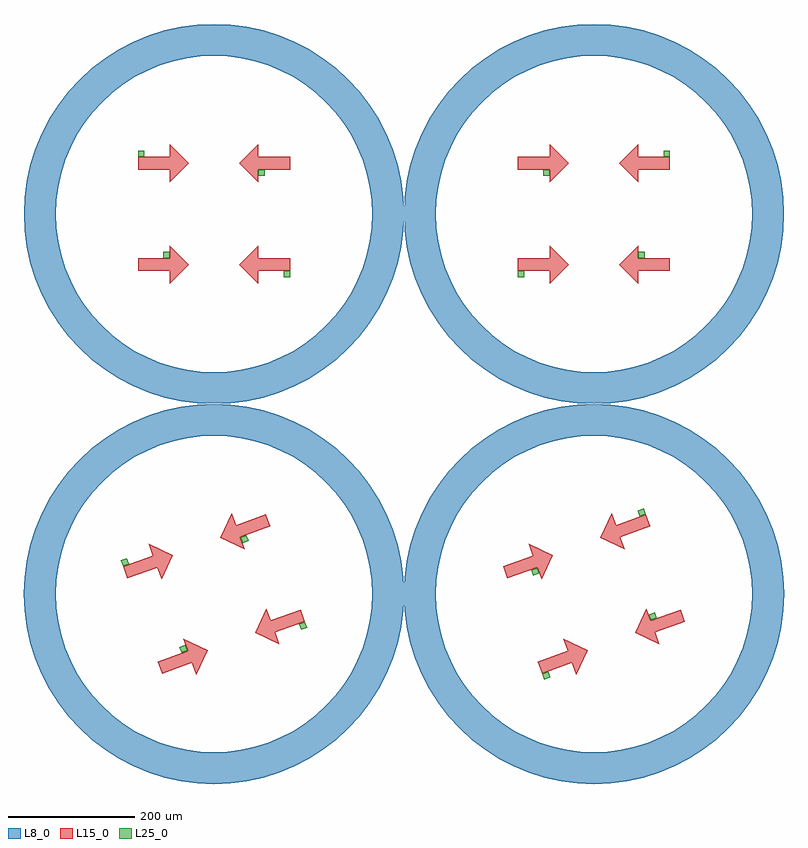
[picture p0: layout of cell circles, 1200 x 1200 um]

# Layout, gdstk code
from math import pi, radians
import gdstk
lib = gdstk.Library(unit=1e-6, precision=1e-09)
def R(c, l, rs):  # rectangles x0, y0, x1, y1
    for r in rs: c.add(gdstk.rectangle(r[:2], r[2:], *l))
def P(c, l, *ps):  # polygons
    for p in ps: c.add(gdstk.Polygon(p, *l))
L8_0 = (8, 0)
L15_0 = (15, 0)
L17_0 = (17, 0)
L25_0 = (25, 0)

arc_mirror = lib.new_cell('arc_mirror')
P(arc_mirror, L8_0, [(300,0),(300,50),(278.211,50.951),(256.588,53.798),(235.295,58.519),(214.495,65.077),(194.345,73.423),(175,83.494),(156.606,95.212),(139.303,108.489),(123.223,123.223),(108.489,139.303),(95.212,156.606),(83.494,175),(73.423,194.345),(65.077,214.495),(58.519,235.295),(53.798,256.588),(50.951,278.211),(50,300),(0,300),(1.142,273.853),(4.558,247.906),(10.222,222.354),(18.092,197.394),(28.108,173.215),(40.192,150),(54.254,127.927),(70.187,107.164),(87.868,87.868),(107.164,70.187),(127.927,54.254),(150,40.192),(173.215,28.108),(197.394,18.092),(222.354,10.222),(247.906,4.558),(273.853,1.142)])
P(arc_mirror, L15_0, [(230,180),(230,230),(250,230),(220,260),(190,230),(210,230),(210,180)])
R(arc_mirror, L25_0, [(230,220,240,230)])

arc = lib.new_cell('arc')
P(arc, L8_0, [(0,300),(1.142,273.853),(4.558,247.906),(10.222,222.354),(18.092,197.394),(28.108,173.215),(40.192,150),(54.254,127.927),(70.187,107.164),(87.868,87.868),(107.164,70.187),(127.927,54.254),(150,40.192),(173.215,28.108),(197.394,18.092),(222.354,10.222),(247.906,4.558),(273.853,1.142),(300,0),(300,50),(278.211,50.951),(256.588,53.798),(235.295,58.519),(214.495,65.077),(194.345,73.423),(175,83.494),(156.606,95.212),(139.303,108.489),(123.223,123.223),(108.489,139.303),(95.212,156.606),(83.494,175),(73.423,194.345),(65.077,214.495),(58.519,235.295),(53.798,256.588),(50.951,278.211),(50,300)])
P(arc, L15_0, [(180,230),(180,210),(230,210),(230,190),(260,220),(230,250),(230,230)])
R(arc, L25_0, [(180,200,190,210)])

circles = lib.new_cell('circles')
circles.add(gdstk.FlexPath([(50,300),(550,300)], 0, ends="flush", simple_path=True, layer=17, datatype=0))  # L17_0
circles.add(gdstk.FlexPath([(-550,300),(-50,300)], 0, ends="flush", simple_path=True, layer=17, datatype=0))  # L17_0
circles.add(gdstk.FlexPath([(-534.923,-385.505),(-65.077,-214.495)], 0, ends="flush", simple_path=True, layer=17, datatype=0))  # L17_0
circles.add(gdstk.FlexPath([(65.077,-385.505),(534.923,-214.495)], 0, ends="flush", simple_path=True, layer=17, datatype=0))  # L17_0
circles.add(gdstk.FlexPath([(-600,600),(600,600),(600,-600),(-600,-600),(-600,600)], 0, ends="flush", simple_path=True, layer=17, datatype=0))  # L17_0
circles.add(gdstk.Reference(arc_mirror, (-84.514,-120.698), rotation=radians(290)))
circles.add(gdstk.Reference(arc, (479.302,84.514), rotation=radians(200)))
circles.add(gdstk.Reference(arc_mirror, (684.514,-479.302), rotation=radians(110)))
circles.add(gdstk.Reference(arc, (120.698,-684.514), rotation=radians(20)))
circles.add(gdstk.Reference(arc, (-684.514,-120.698), rotation=radians(20), x_reflection=True))
circles.add(gdstk.Reference(arc_mirror, (-120.698,84.514), rotation=radians(290), x_reflection=True))
circles.add(gdstk.Reference(arc, (84.514,-479.302), rotation=radians(200), x_reflection=True))
circles.add(gdstk.Reference(arc_mirror, (-479.302,-684.514), rotation=radians(110), x_reflection=True))
circles.add(gdstk.Reference(arc_mirror, (-600,0), rotation=pi/2, x_reflection=True))
circles.add(gdstk.Reference(arc, (0,0), rotation=pi, x_reflection=True))
circles.add(gdstk.Reference(arc_mirror, (0,600), rotation=3*pi/2, x_reflection=True))
circles.add(gdstk.Reference(arc, (-600,600), x_reflection=True))
circles.add(gdstk.Reference(arc, (0,0)))
circles.add(gdstk.Reference(arc_mirror, (600,0), rotation=pi/2))
circles.add(gdstk.Reference(arc, (600,600), rotation=pi))
circles.add(gdstk.Reference(arc_mirror, (0,600), rotation=3*pi/2))

lib.write_gds('circles.gds')
